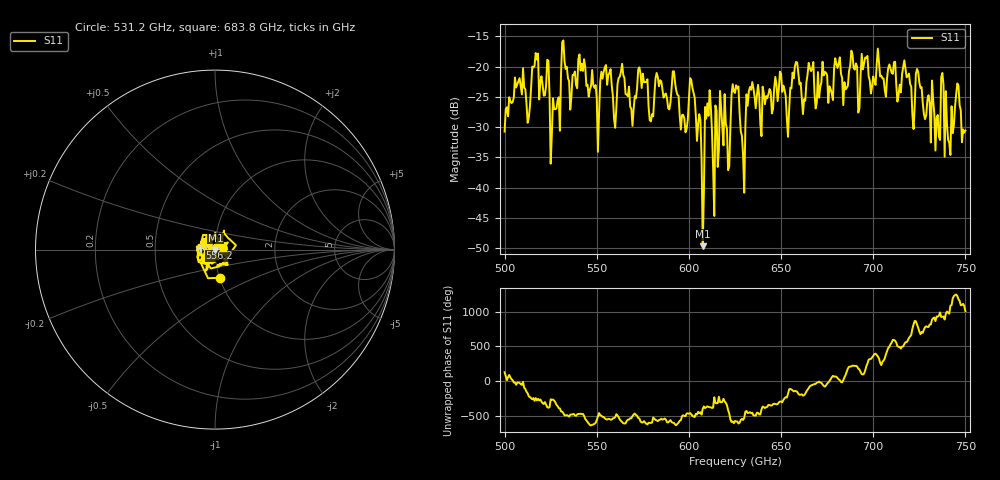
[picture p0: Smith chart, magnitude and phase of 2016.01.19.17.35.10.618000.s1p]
!Created with skrf (http://scikit-rf.org).
# GHz S RI R 50.0
!freq ReS11 ImS11
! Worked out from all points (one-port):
!   401 points, 500 GHz to 750 GHz, reference 50 ohm
!   lowest |S11| = -49.7 dB at 607.5 GHz (marker M1), VSWR 1.01, Z = 50.3 - j0.208 ohm
!   |S11| at or under -10 dB: start of sweep to end of sweep
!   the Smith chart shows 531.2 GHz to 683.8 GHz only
!   S11 on the Smith chart (normalised r, x): 531.2 GHz: 1.01, -0.32; 556.2 GHz: 0.84, +0.02; 683.8 GHz: 1.10, +0.02
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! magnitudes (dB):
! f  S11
! 500 GHz  -30.7
! 506.9 GHz  -23.0
! 513.1 GHz  -28.4
! 516.9 GHz  -17.7
! 526.2 GHz  -25.2
! 531.2 GHz  -16.0
! 550 GHz  -25.3
! 556.2 GHz  -21.4
! 559.4 GHz  -28.6
! 562.5 GHz  -21.6
! 569.4 GHz  -29.8
! 593.8 GHz  -24.6
! 598.1 GHz  -30.9
! 601.9 GHz  -23.5
! 607.5 GHz  -49.7
! 610 GHz  -26.1
! 614.4 GHz  -26.4
! 618.1 GHz  -30.0
! 621.2 GHz  -37.1
! 625 GHz  -24.4
! 629.4 GHz  -34.5
! 633.8 GHz  -23.8
! 653.1 GHz  -28.6
! 656.2 GHz  -21.0
! 683.8 GHz  -26.4
! 687.5 GHz  -19.9
! 718.8 GHz  -21.6
! 750 GHz  -30.6
